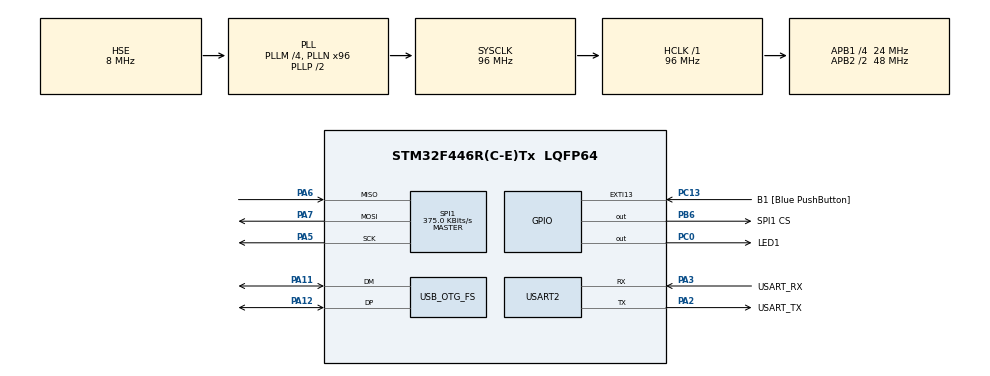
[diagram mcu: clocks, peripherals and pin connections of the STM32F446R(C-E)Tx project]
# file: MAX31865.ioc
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Mcu.Family=STM32F4
Mcu.Name=STM32F446R(C-E)Tx
Mcu.Package=LQFP64
NVIC.OTG_FS_IRQn=true\:0\:0\:false\:false\:true\:false\:true
NVIC.PriorityGroup=NVIC_PRIORITYGROUP_0
NVIC.TIM7_IRQn=true\:0\:0\:false\:false\:true\:true\:true
NVIC.TIM8_TRG_COM_TIM14_IRQn=true\:0\:0\:false\:false\:true\:true\:true
PA11.Mode=Device_Only
PA11.Signal=USB_OTG_FS_DM
PA12.Mode=Device_Only
PA12.Signal=USB_OTG_FS_DP
PA13.GPIO_Label=TMS
PA13.Mode=Serial_Wire
PA13.Signal=SYS_JTMS-SWDIO
PA14.GPIO_Label=TCK
PA14.Mode=Serial_Wire
PA14.Signal=SYS_JTCK-SWCLK
PA2.GPIO_Label=USART_TX
PA2.Mode=Asynchronous
PA2.Signal=USART2_TX
PA3.GPIO_Label=USART_RX
PA3.Mode=Asynchronous
PA3.Signal=USART2_RX
PA5.Mode=Full_Duplex_Master
PA5.Signal=SPI1_SCK
PA6.Mode=Full_Duplex_Master
PA6.Signal=SPI1_MISO
PA7.Mode=Full_Duplex_Master
PA7.Signal=SPI1_MOSI
PB3.GPIO_Label=SWO
PB3.Signal=SYS_JTDO-SWO
PB6.GPIO_Label=SPI1 CS
PB6.Signal=GPIO_Output
PC0.GPIO_Label=LED1
PC0.Signal=GPIO_Output
PC13.GPIO_Label=B1 [Blue PushButton]
PC13.GPIO_ModeDefaultEXTI=GPIO_MODE_IT_FALLING
PC13.Signal=GPXTI13
PC14-OSC32_IN.Mode=LSE-External-Oscillator
PC14-OSC32_IN.Signal=RCC_OSC32_IN
PC15-OSC32_OUT.Mode=LSE-External-Oscillator
PC15-OSC32_OUT.Signal=RCC_OSC32_OUT
PH0-OSC_IN.Mode=HSE-External-Oscillator
PH0-OSC_IN.Signal=RCC_OSC_IN
PH1-OSC_OUT.Mode=HSE-External-Oscillator
PH1-OSC_OUT.Signal=RCC_OSC_OUT
ProjectManager.HeapSize=0x200
ProjectManager.StackSize=0x400
ProjectManager.TargetToolchain=STM32CubeIDE
RCC.48MHZClocksFreq_Value=84000000
RCC.AHBFreq_Value=96000000
RCC.APB1CLKDivider=RCC_HCLK_DIV4
RCC.APB1Freq_Value=24000000
RCC.APB1TimFreq_Value=48000000
RCC.APB2CLKDivider=RCC_HCLK_DIV2
RCC.APB2Freq_Value=48000000
RCC.APB2TimFreq_Value=96000000
RCC.CortexFreq_Value=96000000
RCC.FLatency-AdvancedSettings=FLASH_LATENCY_3
RCC.HCLKFreq_Value=96000000
RCC.HSE_VALUE=8000000
RCC.HSI_VALUE=16000000
RCC.PLLM=4
RCC.PLLN=96
RCC.PLLQ=4
RCC.SYSCLKFreq_VALUE=96000000
RCC.SYSCLKSource=RCC_SYSCLKSOURCE_PLLCLK
RCC.USBFreq_Value=48000000
RCC.VCOOutputFreq_Value=192000000
SPI1.BaudRatePrescaler=SPI_BAUDRATEPRESCALER_128
SPI1.CLKPhase=SPI_PHASE_2EDGE
SPI1.CalculateBaudRate=375.0 KBits/s
SPI1.Direction=SPI_DIRECTION_2LINES
SPI1.Mode=SPI_MODE_MASTER
SPI1.VirtualType=VM_MASTER
TIM14.Period=4799
TIM14.Prescaler=9999
TIM7.Period=4799
TIM7.Prescaler=29999
USART2.VirtualMode=VM_ASYNC
USB_DEVICE.APP_RX_DATA_SIZE-CDC_FS=5
USB_DEVICE.APP_TX_DATA_SIZE-CDC_FS=100
USB_DEVICE.CLASS_NAME_FS=CDC
USB_DEVICE.VirtualMode-CDC_FS=Cdc
USB_DEVICE.VirtualModeFS=Cdc_FS
USB_OTG_FS.VirtualMode=Device_Only
VP_TIM14_VS_ClockSourceINT.Mode=Enable_Timer
VP_TIM7_VS_ClockSourceINT.Mode=Enable_Timer
VP_USB_DEVICE_VS_USB_DEVICE_CDC_FS.Mode=CDC_FS
board=NUCLEO-F446RE

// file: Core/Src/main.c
/* USER CODE BEGIN Header */
/*
 * Biblioteka odczytu pomiarów z przetwornika MAX31865:
 * https://github.com/nimaltd/max31865
 */
/* USER CODE END Header */

#include "main.h"
#include "spi.h"
#include "tim.h"
#include "usart.h"
#include "usb_device.h"
#include "gpio.h"

/*
 *
 *
 *
 */

/* USER CODE BEGIN Includes */
#include "Max31865.h"
#include "frame.h"
/* USER CODE END Includes */

/* USER CODE BEGIN PD */
#define SENSOR_CS1_GPIO_Port SPI1_CS_GPIO_Port
#define SENSOR_CS1_Pin SPI1_CS_Pin
#define SENSOR_Connection_2Wire 2
#define SENSOR_Frequency_Filter 50

/* USER CODE END PD */

/* USER CODE BEGIN PV */
uint8_t DataToSend[40]; // Tablica zawierajaca dane do wyslania
Max31865_t  pt1000;
bool        pt1000isOK;
float       pt1000Temp;		//po przefiltrowaniu
float t;					//surowy odczyt z sensora
float newTemp;
float oldTemp;

char whole_frame_ascii[300];
char one_hex_number[4];
uint32_t licznik_pomiarow;
uint16_t period;
uint16_t frame_CRC;

uint8_t temp_ready;

/* USER CODE END PV */

void SystemClock_Config(void);
/* USER CODE BEGIN PFP */
void clear_buffer(uint8_t buffer[])
{
	for(int i = 0; i < 40; i++)
	{
		buffer[i] = 0;
	}
}

void send_text_over_usb(const char *text, uint8_t TxBuffer[])
{
	uint8_t MessageLength;
	strcpy(TxBuffer, text);
	MessageLength = strlen(TxBuffer);
	CDC_Transmit_FS(TxBuffer, MessageLength);
	clear_buffer(TxBuffer);
	HAL_Delay(100);
}

void usb_print(const char *text, uint8_t TxBuffer[])
{
	uint8_t MessageLength;
	strcpy(TxBuffer, text);
	MessageLength = strlen(TxBuffer);
	CDC_Transmit_FS(TxBuffer, MessageLength);
}

void HAL_TIM_PeriodElapsedCallback(TIM_HandleTypeDef *htim)
{
	if (htim->Instance == TIM14)
	{
		HAL_GPIO_TogglePin(GPIOC, GPIO_PIN_0);

		//strcpy(DataToSend, "interrupt \r\n");
		//CDC_Transmit_FS(DataToSend, strlen(DataToSend));
		//HAL_Delay(1);
		usb_print("\r\n Przerwanie \r\n", DataToSend);
		pt1000isOK = Max31865_readTempC(&pt1000,&t);
		//if(!pt1000isOK)
		//	usb_print("blad odczytu \r\n", DataToSend);
		temp_ready = 1;

	}
}

void LED_Blink()
{
	while(1)
	{
		HAL_GPIO_TogglePin(GPIOC, GPIO_PIN_0);
		delayUS_DWT(1000000L);
	}
}

/* USER CODE END PFP */

/* USER CODE BEGIN 0 */

static int j = 0;

unsigned char __attribute__((section (".mySection"))) buf[4] = {1,2,3,4};
//unsigned char __attribute__((section (".mySection"))) myOtherVar = 0x1A;

extern int __MY_SECTION_START, __MY_SECTION_END;

/* USER CODE END 0 */

int main(void)
{
  /* USER CODE BEGIN 1 */
	uint16_t test_variable = 0x31EA;
	uint16_t test2 = test_variable + 1;

	uint8_t *p, *end;

  /* USER CODE END 1 */

  /* MCU Configuration--------------------------------------------------------*/

  /* Reset of all peripherals, Initializes the Flash interface and the Systick. */
  HAL_Init();

  /* Configure the system clock */
  SystemClock_Config();

  /* Initialize all configured peripherals */
  MX_GPIO_Init();
  MX_SPI1_Init();
  MX_USART2_UART_Init();
  MX_USB_DEVICE_Init();
  MX_TIM14_Init();
  MX_TIM7_Init();
  /* USER CODE BEGIN 2 */
	clear_buffer(DataToSend);
	HAL_Delay(4000);
	send_text_over_usb("Start Programu \r\n", DataToSend);

	HAL_GPIO_TogglePin(GPIOC, GPIO_PIN_0);
	HAL_Delay(200);
	HAL_GPIO_TogglePin(GPIOC, GPIO_PIN_0);

	//LED_Blink();
	send_text_over_usb(buf, DataToSend);

	Max31865_init(&pt1000 ,&hspi1, SENSOR_CS1_GPIO_Port, SENSOR_CS1_Pin, SENSOR_Connection_2Wire, SENSOR_Frequency_Filter);
	HAL_Delay(3000);
	uint8_t initial_state_flag = 1;
	licznik_pomiarow = 0;
	period = 1;
	frame_CRC = 0;
	temp_ready = 0;
	frame_initializer();
	frame_rewrite();
	newTemp = 0.0;
	oldTemp = 0.0;
	shift_register_init();
	BIG_frame_initializer();
	BIG_frame_rewrite();

	send_text_over_usb("main znacznik 1 \r\n", DataToSend);

	for(int i = 0; i < 75; i++)
	{
		pt1000isOK = Max31865_readTempC(&pt1000,&t);
		if(!pt1000isOK)
			usb_print("blad odczytu \r\n", DataToSend);
		pt1000Temp = Max31865_Filter(t,pt1000Temp,0.1);   //  << For Smoothing data
		sprintf(DataToSend, "pomiar: %f \r\n", pt1000Temp);
		CDC_Transmit_FS(DataToSend, strlen(DataToSend));
	}
	send_text_over_usb("koniec inicjalizacji \r\n", DataToSend);

	HAL_Delay(200);
	HAL_TIM_Base_Start_IT(&htim14);

  /* USER CODE END 2 */

  /* Infinite loop */
	while (1)
	{

    /* USER CODE BEGIN 3 */
		  //send_text_over_usb("petla \r\n", DataToSend);
		if(temp_ready)
		{
			licznik_pomiarow++;
			pt1000Temp = Max31865_Filter(t,pt1000Temp,0.1);   //  << For Smoothing data
			sprintf(DataToSend, "pomiar: %f \r\n", pt1000Temp);
			CDC_Transmit_FS(DataToSend, strlen(DataToSend));
			newTemp = pt1000Temp;
			//database_temperature_history_store(pt1000Temp);
			if(licznik_pomiarow > 1)
			{
				database_temperatures_index = 0;
				database_temperature_history_store(newTemp);
				database_temperature_history_store(oldTemp);
			}
			else
			{
				database_temperature_history_store(newTemp);
			}
			cast_counter(licznik_pomiarow);
			cast_period(period);
			cast_temperature();
			get_ID_from_memory();
			frame_rewrite();
			fill_CRC_buffer();
			frame_CRC = crc16(my_frame.CRC_buffer, 14);
			cast_CRC(frame_CRC);
			frame_rewrite();

			strcat(whole_frame_ascii,"JU0A");
			for(int i = 0; i < 33; i++)
			{
				if(my_frame.whole_frame[i] < 0x10)
				{
					strcat(whole_frame_ascii,"0");
				}

				sprintf(one_hex_number, "%X", my_frame.whole_frame[i]);
				strcat(whole_frame_ascii,one_hex_number);
			}
			send_text_over_usb("  ", DataToSend);
			CDC_Transmit_FS(whole_frame_ascii, strlen(whole_frame_ascii));
			clear_buffer_(whole_frame_ascii);

			if(shift_left_order)
			{
				database_temperature_history_shift_left();
				shift_left_order = 0;
			}

			//Dla dużej ramki
			shift_register_add(pt1000Temp);
			clear_BIG_database();
			BIG_database_temperatures_index = 0;
			for(int i = 0; i < liczba_pomiarow_w_ramce; i++)
			{
				big_database_temperature_history_store(pomiary_shift_register[i]);
			}
			BIG_cast_counter(licznik_pomiarow);
			BIG_cast_period(period);
			BIG_cast_temperature();
			BIG_get_ID_from_memory();
			BIG_frame_rewrite();    //////<----
			BIG_fill_CRC_buffer();
			frame_CRC = crc16(myBIG_frame.CRC_buffer, 20);
			BIG_cast_CRC(frame_CRC);
			BIG_frame_rewrite();
			strcat(whole_frame_ascii,"JU0A");
			for(int i = 0; i < 39; i++)
			{
				if(myBIG_frame.whole_frame[i] < 0x10)
				{
					strcat(whole_frame_ascii,"0");
				}
				sprintf(one_hex_number, "%X", myBIG_frame.whole_frame[i]);
				strcat(whole_frame_ascii,one_hex_number);
			}
			send_text_over_usb("  ", DataToSend);
			CDC_Transmit_FS(whole_frame_ascii, strlen(whole_frame_ascii));
			clear_buffer_(whole_frame_ascii);

			oldTemp = newTemp;
			temp_ready = 0;
		}
		//Przejscie w tryb uspienia. Wybudza pierwsze następujące przerwanie
		HAL_SuspendTick();
		HAL_PWR_EnterSLEEPMode(PWR_LOWPOWERREGULATOR_ON, PWR_SLEEPENTRY_WFI);
		HAL_ResumeTick();

	}
  /* USER CODE END 3 */
}

void SystemClock_Config(void)
{
  RCC_OscInitTypeDef RCC_OscInitStruct = {0};
  RCC_ClkInitTypeDef RCC_ClkInitStruct = {0};
  RCC_PeriphCLKInitTypeDef PeriphClkInitStruct = {0};

  /** Configure the main internal regulator output voltage
  */
  __HAL_RCC_PWR_CLK_ENABLE();
  __HAL_PWR_VOLTAGESCALING_CONFIG(PWR_REGULATOR_VOLTAGE_SCALE3);
  /** Initializes the CPU, AHB and APB busses clocks
  */
  RCC_OscInitStruct.OscillatorType = RCC_OSCILLATORTYPE_HSE;
  RCC_OscInitStruct.HSEState = RCC_HSE_ON;
  RCC_OscInitStruct.PLL.PLLState = RCC_PLL_ON;
  RCC_OscInitStruct.PLL.PLLSource = RCC_PLLSOURCE_HSE;
  RCC_OscInitStruct.PLL.PLLM = 4;
  RCC_OscInitStruct.PLL.PLLN = 96;
  RCC_OscInitStruct.PLL.PLLP = RCC_PLLP_DIV2;
  RCC_OscInitStruct.PLL.PLLQ = 4;
  RCC_OscInitStruct.PLL.PLLR = 2;
  if (HAL_RCC_OscConfig(&RCC_OscInitStruct) != HAL_OK)
  {
    Error_Handler();
  }
  /** Initializes the CPU, AHB and APB busses clocks
  */
  RCC_ClkInitStruct.ClockType = RCC_CLOCKTYPE_HCLK|RCC_CLOCKTYPE_SYSCLK
                              |RCC_CLOCKTYPE_PCLK1|RCC_CLOCKTYPE_PCLK2;
  RCC_ClkInitStruct.SYSCLKSource = RCC_SYSCLKSOURCE_PLLCLK;
  RCC_ClkInitStruct.AHBCLKDivider = RCC_SYSCLK_DIV1;
  RCC_ClkInitStruct.APB1CLKDivider = RCC_HCLK_DIV4;
  RCC_ClkInitStruct.APB2CLKDivider = RCC_HCLK_DIV2;

  if (HAL_RCC_ClockConfig(&RCC_ClkInitStruct, FLASH_LATENCY_3) != HAL_OK)
  {
    Error_Handler();
  }
  PeriphClkInitStruct.PeriphClockSelection = RCC_PERIPHCLK_CLK48;
  PeriphClkInitStruct.Clk48ClockSelection = RCC_CLK48CLKSOURCE_PLLQ;
  if (HAL_RCCEx_PeriphCLKConfig(&PeriphClkInitStruct) != HAL_OK)
  {
    Error_Handler();
  }
}

void Error_Handler(void)
{
}

/************************ (C) COPYRIGHT STMicroelectronics *****END OF FILE****/
